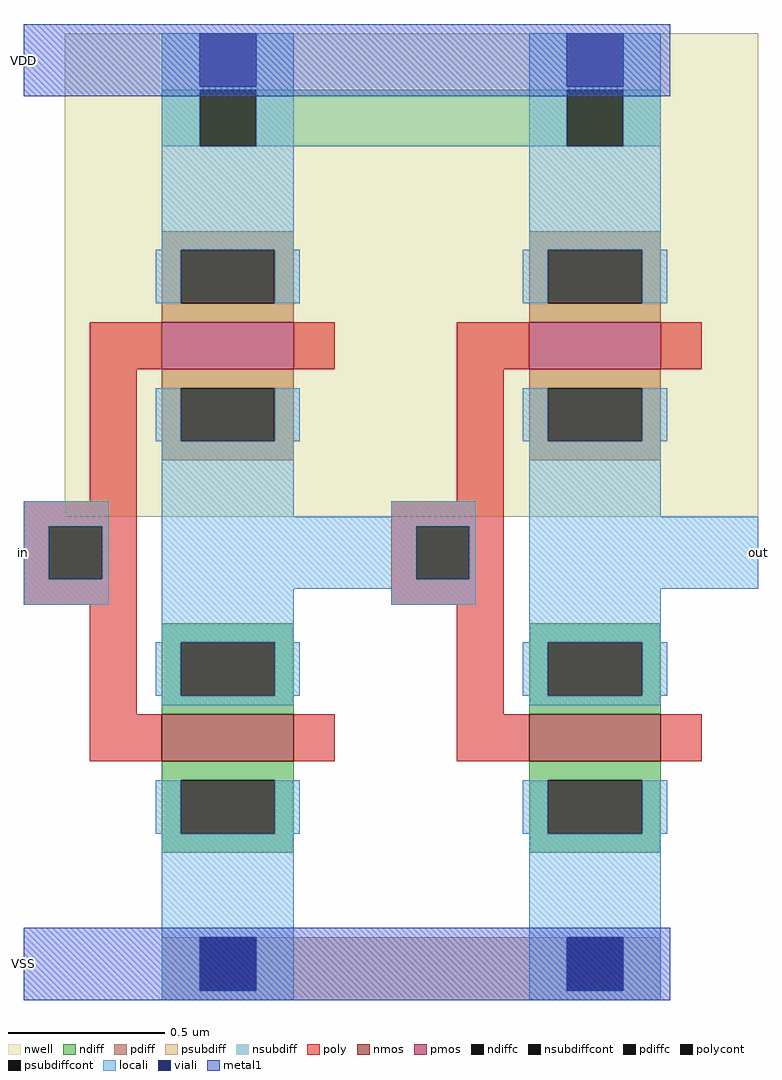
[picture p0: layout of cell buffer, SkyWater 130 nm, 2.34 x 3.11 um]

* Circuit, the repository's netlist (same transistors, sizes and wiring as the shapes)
* NGSPICE file created from buffer.ext - technology: sky130A

.subckt inverter out VDD VSS in
X0 VDD in out VDD sky130_fd_pr__pfet_01v8 ad=1.218e+11p pd=1.42e+06u as=1.218e+11p ps=1.42e+06u w=420000u l=150000u
X1 out in VSS VSS sky130_fd_pr__nfet_01v8 ad=1.218e+11p pd=1.42e+06u as=1.218e+11p ps=1.42e+06u w=420000u l=150000u
.ends

.subckt buffer VDD VSS in out
Xinverter_0[0] inverter_0[1]/in VDD VSS in inverter
Xinverter_0[1] out VDD VSS inverter_0[1]/in inverter
.ends

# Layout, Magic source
magic
tech sky130A
<< nwell >>
rect 117 152 130 306
<< psubdiff >>
rect 44 -2 203 18
<< nsubdiff >>
rect 44 270 203 288
<< poly >>
rect 0 129 4 152
<< locali >>
rect 0 129 4 152
rect 230 129 234 152
<< metal1 >>
rect 0 286 206 309
rect 0 -2 206 21
use inverter  inverter_0 ../inverter
array 0 1 117 0 0 309
transform 1 0 13 0 1 63
box -13 -65 104 246
<< labels >>
rlabel metal1 0 286 0 309 7 VDD
port 1 w
rlabel locali 0 129 0 152 7 in
port 3 w
rlabel locali 234 129 234 152 3 out
port 4 e
rlabel metal1 0 -2 0 21 7 VSS
port 2 w
<< end >>

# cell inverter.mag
magic
tech sky130A
<< nwell >>
rect 0 89 104 243
<< nmos >>
rect 31 11 73 26
<< pmos >>
rect 31 136 73 151
<< ndiff >>
rect 31 49 73 55
rect 31 32 37 49
rect 67 32 73 49
rect 31 26 73 32
rect 31 5 73 11
rect 31 -12 37 5
rect 67 -12 73 5
rect 31 -18 73 -12
<< pdiff >>
rect 31 174 73 180
rect 31 157 37 174
rect 67 157 73 174
rect 31 151 73 157
rect 31 130 73 136
rect 31 113 37 130
rect 67 113 73 130
rect 31 107 73 113
<< ndiffc >>
rect 37 32 67 49
rect 37 -12 67 5
<< pdiffc >>
rect 37 157 67 174
rect 37 113 67 130
<< psubdiff >>
rect 31 -62 43 -45
rect 61 -62 73 -45
rect 31 -65 73 -62
<< nsubdiff >>
rect 31 207 43 225
rect 61 207 73 225
<< psubdiffcont >>
rect 43 -62 61 -45
<< nsubdiffcont >>
rect 43 207 61 225
<< poly >>
rect 8 136 31 151
rect 73 136 86 151
rect 8 94 23 136
rect -13 86 23 94
rect -13 69 -5 86
rect 12 69 23 86
rect -13 61 23 69
rect 8 26 23 61
rect 8 11 31 26
rect 73 11 86 26
<< polycont >>
rect -5 69 12 86
<< locali >>
rect 31 226 43 243
rect 61 226 73 243
rect 31 225 73 226
rect 31 207 43 225
rect 61 207 73 225
rect 31 174 73 207
rect 29 157 37 174
rect 67 157 75 174
rect 29 113 37 130
rect 67 113 75 130
rect -13 86 14 94
rect -13 69 -5 86
rect 12 69 14 86
rect -13 61 14 69
rect 31 89 73 113
rect 31 66 104 89
rect 31 49 73 66
rect 29 32 37 49
rect 67 32 75 49
rect 31 29 73 32
rect 29 -12 37 5
rect 67 -12 75 5
rect 31 -45 73 -12
rect 31 -62 43 -45
rect 61 -62 73 -45
rect 31 -65 73 -62
<< viali >>
rect 43 226 61 243
rect 43 -62 61 -45
<< metal1 >>
rect 27 243 76 246
rect 27 226 43 243
rect 61 226 76 243
rect 27 223 76 226
rect 28 -45 76 -42
rect 28 -62 43 -45
rect 61 -62 76 -45
rect 28 -65 76 -62
<< labels >>
rlabel locali -13 66 -13 89 7 in
rlabel locali 104 66 104 89 3 out
rlabel metal1 27 223 27 246 7 VDD
port 1 w
rlabel metal1 28 -65 28 -42 7 VSS
port 2 w
<< end >>
